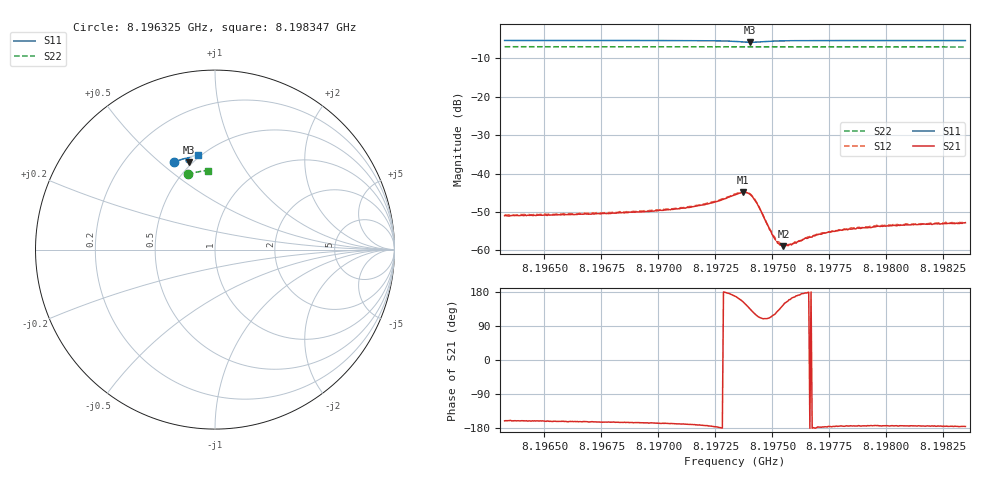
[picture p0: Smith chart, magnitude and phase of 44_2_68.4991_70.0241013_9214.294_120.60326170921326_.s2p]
#  HZ  S  RI  R  50.00
! Rohde & Schwarz Vector Network Analyzer
! Rohde-Schwarz,ZNB20-2Port,1311601062101988,3.16
! Created: UTC 3/20/2024, 4:50:33 PM
! freq[Hz]  re:S11  im:S11  re:S21  im:S21  re:S12  im:S12  re:S22  im:S22
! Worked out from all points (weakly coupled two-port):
!   401 points, 8.196325 GHz to 8.198347 GHz, reference 50 ohm
!   highest |S21| = -44.90 dB at 8.197371 GHz (marker M1); lowest = -58.9 dB at 8.197548 GHz (marker M2)
!   lowest |S11| = -5.9 dB at 8.197402 GHz (marker M3), VSWR 3.06, Z = 23.9 + j31.3 ohm
!   |S11| at or under -10 dB: nowhere
!   |S22| runs from -7.1 to -7.0 dB; largest |S21 - S12| = 0.0003
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8.1963251e9  -0.2257 0.4872  -0.00266 -0.000945  -0.00275 -0.000899  -0.1516 0.4187
8.1966638e9  -0.2028 0.4965  -0.00283 -0.000862  -0.00294 -0.000785  -0.1332 0.4243
8.1970024e9  -0.1781 0.505  -0.00322 -0.000742  -0.0033 -0.000628  -0.1149 0.4289
8.1971793e9  -0.1629 0.5083  -0.00378 -0.000594  -0.00387 -0.000406  -0.1052 0.431
8.1972652e9  -0.153 0.508  -0.00442 -0.000162  -0.00449 1.82e-05  -0.1003 0.4319
8.197336e9  -0.1432 0.5021  -0.00519 0.00105  -0.00525 0.0013  -0.0964 0.4326
8.1973714e9  -0.1412 0.4936  -0.00509 0.00254  -0.00507 0.00281  -0.0943 0.4327
8.1973865e9  -0.1429 0.4891  -0.00461 0.00328  -0.00456 0.0035  -0.0936 0.4328
8.1974017e9  -0.1471 0.4859  -0.00379 0.00383  -0.00363 0.00404  -0.0929 0.4328
8.1974169e9  -0.1522 0.4852  -0.00275 0.00391  -0.00267 0.00412  -0.0924 0.433
8.1974371e9  -0.1582 0.4881  -0.0016 0.0035  -0.0015 0.00361  -0.0914 0.4334
8.1974927e9  -0.1607 0.5007  -0.000711 0.00165  -0.00065 0.00169  -0.0884 0.4342
8.1975129e9  -0.1591 0.504  -0.000728 0.00117  -0.00074 0.00122  -0.0872 0.4344
8.1975331e9  -0.1572 0.5064  -0.000838 0.000828  -0.000868 0.000899  -0.0862 0.4347
8.1975483e9  -0.1556 0.508  -0.000937 0.000642  -0.000948 0.000716  -0.0853 0.4349
8.1975836e9  -0.1521 0.5108  -0.00113 0.000345  -0.00114 0.000404  -0.0833 0.4352
8.1976746e9  -0.1438 0.5148  -0.00149 -4.96e-06  -0.00154 6.15e-05  -0.0781 0.4361
8.1977353e9  -0.1386 0.5167  -0.00169 -0.000107  -0.0017 -4.58e-05  -0.0747 0.4365
8.197806e9  -0.1329 0.5185  -0.00182 -0.00018  -0.00186 -0.000116  -0.0708 0.4371
8.1979577e9  -0.1212 0.5214  -0.00204 -0.000242  -0.00213 -0.000149  -0.0623 0.438
8.1980133e9  -0.1172 0.5224  -0.00208 -0.00021  -0.00213 -0.000155  -0.0592 0.4385
8.1983468e9  -0.093 0.5269  -0.00228 -0.000184  -0.00233 -6.92e-05  -0.0403 0.4401
